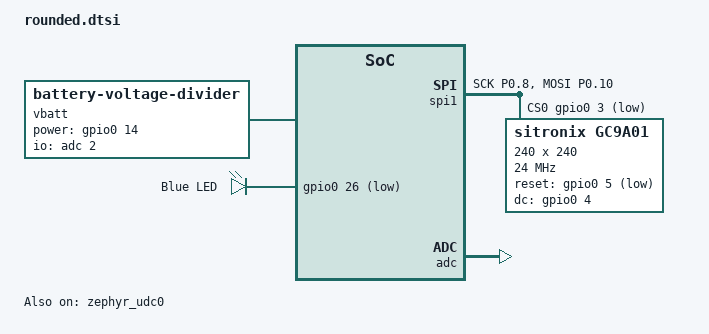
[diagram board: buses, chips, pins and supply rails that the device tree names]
/*
 * Copyright (c) 2024
 * SPDX-License-Identifier: MIT
 */

#include <dt-bindings/zmk/matrix_transform.h>

/ {
    chosen {
        zephyr,display = &gc9a01;
        zmk,battery = &vbatt;
    };

    // Virtual matrix transform for dongle (minimal key matrix)
    transform: keymap_transform_0 {
        compatible = "zmk,matrix-transform";
        columns = <1>;
        rows = <1>;
        map = <RC(0,0)>;
    };

    // Battery voltage monitoring
    vbatt: vbatt {
        compatible = "zmk,battery-voltage-divider";
        io-channels = <&adc 2>; // P0.31/AIN2 on XIAO
        output-ohms = <2000000>;
        full-ohms = <(2000000 + 806000)>;
        power-gpios = <&gpio0 14 GPIO_ACTIVE_HIGH>; // P0.14 for battery read enable
    };

    // Optional: Status LEDs
    leds {
        compatible = "gpio-leds";
        blue_led: led_0 {
            gpios = <&gpio0 26 GPIO_ACTIVE_LOW>;
            label = "Blue LED";
        };
    };

    // Backlight control disabled for now
    // backlight: pwm_backlight {
    //     compatible = "pwm-backlight";
    //     pwms = <&pwm0 0 PWM_MSEC(20) PWM_POLARITY_NORMAL>;
    //     brightness-levels = <0 10 20 30 40 50 60 70 80 90 100>;
    //     default-brightness-level = <8>; // 80% brightness
    //     status = "okay";
    // };
};

// PWM disabled for now
// &pwm0 {
//     status = "okay";
//     pinctrl-0 = <&pwm0_default>;
//     pinctrl-1 = <&pwm0_sleep>;
//     pinctrl-names = "default", "sleep";
// };

&pinctrl {
    // PWM pinctrl disabled for now
    // pwm0_default: pwm0_default {
    //     group1 {
    //         psels = <NRF_PSEL(PWM_OUT0, 0, 6)>; // D6 - Backlight pin
    //     };
    // };

    // pwm0_sleep: pwm0_sleep {
    //     group1 {
    //         psels = <NRF_PSEL(PWM_OUT0, 0, 6)>;
    //         low-power-enable;
    //     };
    // };

    spi1_default: spi1_default {
        group1 {
            psels = <NRF_PSEL(SPIM_SCK, 0, 8)>,   // D8 - SCK
                    <NRF_PSEL(SPIM_MOSI, 0, 10)>; // D10 - MOSI
        };
    };

    spi1_sleep: spi1_sleep {
        group1 {
            psels = <NRF_PSEL(SPIM_SCK, 0, 8)>,
                    <NRF_PSEL(SPIM_MOSI, 0, 10)>;
            low-power-enable;
        };
    };
};

// SPI configuration for the round display
&spi1 {
    compatible = "nordic,nrf-spim";
    status = "okay";
    
    pinctrl-0 = <&spi1_default>;
    pinctrl-1 = <&spi1_sleep>;
    pinctrl-names = "default", "sleep";
    
    cs-gpios = <&gpio0 3 GPIO_ACTIVE_LOW>; // D3 - CS

    gc9a01: gc9a01@0 {
        compatible = "sitronix,gc9a01";  // Using gc9a01 driver instead of GC9A01
        reg = <0>;
        spi-max-frequency = <24000000>; // 24MHz for stability
        
        // Control pins
        reset-gpios = <&gpio0 5 GPIO_ACTIVE_LOW>;   // D5 - RST
        dc-gpios = <&gpio0 4 GPIO_ACTIVE_HIGH>;     // D4 - DC
        
        // Display specifications
        width = <240>;
        height = <240>;
        
        // ST7789V required properties
        vcom = <0x19>;  // VCOM setting (required for ST7789V)
        
        // Round display specific settings
        x-offset = <0>;
        y-offset = <0>;
        
        // Color format settings
        pixel-format = <1>; // RGB565
        inversion-on;
        
        // Rotation (adjust as needed for your mounting)
        rotation = <0>; // 0, 90, 180, or 270
        
        // Backlight reference (disabled for now)
        // backlight = <&backlight>;

        gctrl = <0x35>;
        mdac = <0x00>;
        lcm = <0x2C>;
        colmod = <0x05>;
        gamma = <0x01>;
        porch-param = [0C 0C 00 33 33];
        cmd2en-param = [5A 69 02 01];
        pwctrl1-param = [A4 A1];
        ram-param = [00 F0];
        rgb-param = [00 00];
        mipi-mode = <0>;

        pvgam-param = [D0 04 0D 11 13 2B 3F 54 4C 18 0D 0B 1F 23];

        nvgam-param = [D0 04 0C 11 13 2C 3F 44 51 2F 1F 1F 20 23];
    };
};

// Enable ADC for battery voltage monitoring
&adc {
    status = "okay";
};

// USB configuration (for debugging/flashing)
&zephyr_udc0 {
    status = "okay";
};
